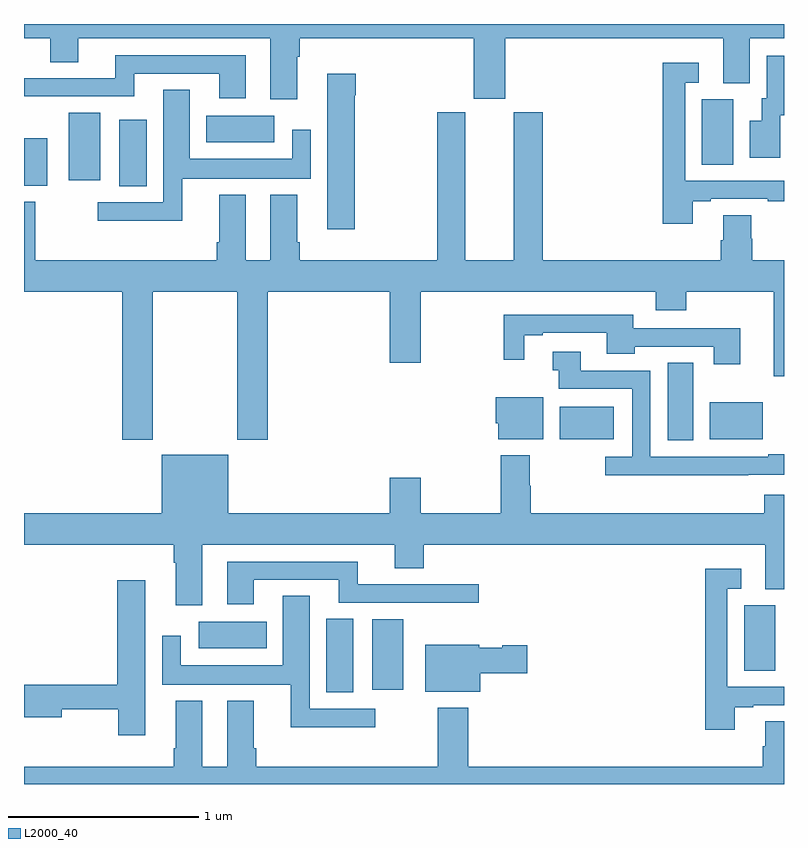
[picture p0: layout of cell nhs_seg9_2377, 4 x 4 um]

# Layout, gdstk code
import gdstk
lib = gdstk.Library(unit=1e-6, precision=1e-09)
def R(c, l, rs):  # rectangles x0, y0, x1, y1
    for r in rs: c.add(gdstk.rectangle(r[:2], r[2:], *l))
def P(c, l, *ps):  # polygons
    for p in ps: c.add(gdstk.Polygon(p, *l))
L2000_40 = (2000, 40)

nhs_seg9_2377 = lib.new_cell('nhs_seg9_2377')
R(nhs_seg9_2377, L2000_40, [(248.591,1188.982,248.734,1189.37), (248.834,1188.996,248.995,1189.366), (250.79,1189.096,250.954,1189.44), (247.92,1189.214,248.278,1189.354), (250.388,1190.308,250.522,1190.717), (249.821,1190.315,250.105,1190.485), (250.61,1190.315,250.888,1190.509), (247.502,1191.646,247.645,1191.997), (247,1191.65,247.123,1191.898), (247.235,1191.678,247.402,1192.034), (250.568,1191.76,250.732,1192.104), (247.958,1191.878,248.317,1192.018)])
P(nhs_seg9_2377, L2000_40, [(248.437,1192.328),(248.45,1192.328),(248.45,1192.424),(249.368,1192.424),(249.368,1192.107),(249.532,1192.107),(249.532,1192.424),(250.679,1192.424),(250.679,1192.189),(250.819,1192.189),(250.819,1192.424),(251,1192.424),(251,1192.5),(247,1192.5),(247,1192.424),(247.138,1192.424),(247.138,1192.3),(247.285,1192.3),(247.285,1192.424),(248.297,1192.424),(248.297,1192.104),(248.437,1192.104)],
  [(248.167,1192.335),(247.481,1192.335),(247.481,1192.215),(247,1192.215),(247,1192.119),(247.579,1192.119),(247.579,1192.239),(248.027,1192.239),(248.027,1192.11),(248.167,1192.11)],
  [(250.981,1192.02),(251,1192.02),(251,1192.332),(250.908,1192.332),(250.908,1192.11),(250.883,1192.11),(250.883,1191.991),(250.82,1191.991),(250.82,1191.795),(250.981,1191.795)],
  [(250.519,1191.567),(250.615,1191.567),(250.615,1191.579),(250.915,1191.579),(250.915,1191.567),(251,1191.567),(251,1191.675),(250.479,1191.675),(250.479,1192.191),(250.552,1192.191),(250.552,1192.297),(250.363,1192.297),(250.363,1191.45),(250.519,1191.45)],
  [(248.742,1192.124),(248.747,1192.124),(248.747,1192.237),(248.597,1192.237),(248.597,1191.42),(248.742,1191.42)],
  [(247.832,1191.686),(248.508,1191.686),(248.508,1191.943),(248.412,1191.943),(248.412,1191.79),(247.873,1191.79),(247.873,1192.154),(247.733,1192.154),(247.733,1191.561),(247.389,1191.561),(247.389,1191.464),(247.832,1191.464)],
  [(250.827,1191.369),(250.827,1191.494),(250.679,1191.494),(250.679,1191.362),(250.667,1191.362),(250.667,1191.256),(249.731,1191.256),(249.731,1192.035),(249.578,1192.035),(249.578,1191.256),(249.322,1191.256),(249.322,1192.035),(249.175,1192.035),(249.175,1191.256),(248.45,1191.256),(248.45,1191.352),(248.437,1191.352),(248.437,1191.601),(248.297,1191.601),(248.297,1191.256),(248.167,1191.256),(248.167,1191.601),(248.027,1191.601),(248.027,1191.352),(248.015,1191.352),(248.015,1191.256),(247.059,1191.256),(247.059,1191.565),(247,1191.565),(247,1191.092),(247.517,1191.092),(247.517,1190.313),(247.677,1190.313),(247.677,1191.092),(248.122,1191.092),(248.122,1190.313),(248.282,1190.313),(248.282,1191.092),(248.924,1191.092),(248.924,1190.718),(249.088,1190.718),(249.088,1191.092),(250.325,1191.092),(250.325,1190.993),(250.485,1190.993),(250.485,1191.092),(250.946,1191.092),(250.946,1190.646),(251,1190.646),(251,1191.256),(250.832,1191.256),(250.832,1191.369)],
  [(250.771,1190.898),(250.207,1190.898),(250.207,1190.97),(249.525,1190.97),(249.525,1190.733),(249.634,1190.733),(249.634,1190.862),(249.73,1190.862),(249.73,1190.874),(250.067,1190.874),(250.067,1190.765),(250.215,1190.765),(250.215,1190.802),(250.631,1190.802),(250.631,1190.709),(250.771,1190.709)],
  [(250.811,1190.127),(251,1190.127),(251,1190.236),(250.916,1190.236),(250.916,1190.223),(250.296,1190.223),(250.296,1190.676),(249.931,1190.676),(249.931,1190.775),(249.783,1190.775),(249.783,1190.678),(249.814,1190.678),(249.814,1190.58),(250.2,1190.58),(250.2,1190.223),(250.059,1190.223),(250.059,1190.126),(250.811,1190.126)],
  [(249.733,1190.536),(249.482,1190.536),(249.482,1190.4),(249.497,1190.4),(249.497,1190.315),(249.733,1190.315)],
  [(249.104,1189.76),(250.901,1189.76),(250.901,1189.525),(251,1189.525),(251,1190.023),(250.895,1190.023),(250.895,1189.924),(249.668,1189.924),(249.668,1190.069),(249.663,1190.069),(249.663,1190.23),(249.508,1190.23),(249.508,1189.924),(249.088,1189.924),(249.088,1190.113),(248.924,1190.113),(248.924,1189.924),(248.074,1189.924),(248.074,1190.233),(247.724,1190.233),(247.724,1189.924),(247,1189.924),(247,1189.76),(247.787,1189.76),(247.787,1189.664),(247.799,1189.664),(247.799,1189.44),(247.939,1189.44),(247.939,1189.76),(248.951,1189.76),(248.951,1189.636),(249.104,1189.636)],
  [(248.209,1189.575),(248.657,1189.575),(248.657,1189.455),(249.073,1189.455),(249.073,1189.453),(249.394,1189.453),(249.394,1189.551),(248.756,1189.551),(248.756,1189.671),(248.069,1189.671),(248.069,1189.446),(248.209,1189.446)],
  [(250.741,1188.903),(250.837,1188.903),(250.837,1188.915),(251,1188.915),(251,1189.011),(250.701,1189.011),(250.701,1189.527),(250.774,1189.527),(250.774,1189.633),(250.585,1189.633),(250.585,1188.786),(250.741,1188.786)],
  [(247.639,1189.573),(247.49,1189.573),(247.49,1189.022),(247,1189.022),(247,1188.851),(247.198,1188.851),(247.198,1188.894),(247.495,1188.894),(247.495,1188.756),(247.639,1188.756)],
  [(248.848,1188.897),(248.503,1188.897),(248.503,1189.49),(248.363,1189.49),(248.363,1189.126),(247.824,1189.126),(247.824,1189.279),(247.728,1189.279),(247.728,1189.022),(248.405,1189.022),(248.405,1188.8),(248.848,1188.8)],
  [(249.4,1189.082),(249.649,1189.082),(249.649,1189.229),(249.516,1189.229),(249.516,1189.216),(249.396,1189.216),(249.396,1189.234),(249.113,1189.234),(249.113,1188.986),(249.4,1188.986)],
  [(251,1188.83),(250.901,1188.83),(250.901,1188.698),(250.889,1188.698),(250.889,1188.592),(249.338,1188.592),(249.338,1188.901),(249.178,1188.901),(249.178,1188.592),(248.222,1188.592),(248.222,1188.688),(248.209,1188.688),(248.209,1188.937),(248.069,1188.937),(248.069,1188.592),(247.939,1188.592),(247.939,1188.937),(247.799,1188.937),(247.799,1188.688),(247.787,1188.688),(247.787,1188.592),(247,1188.592),(247,1188.5),(251,1188.5)])

lib.write_gds('nhs_seg9_2377.gds')
